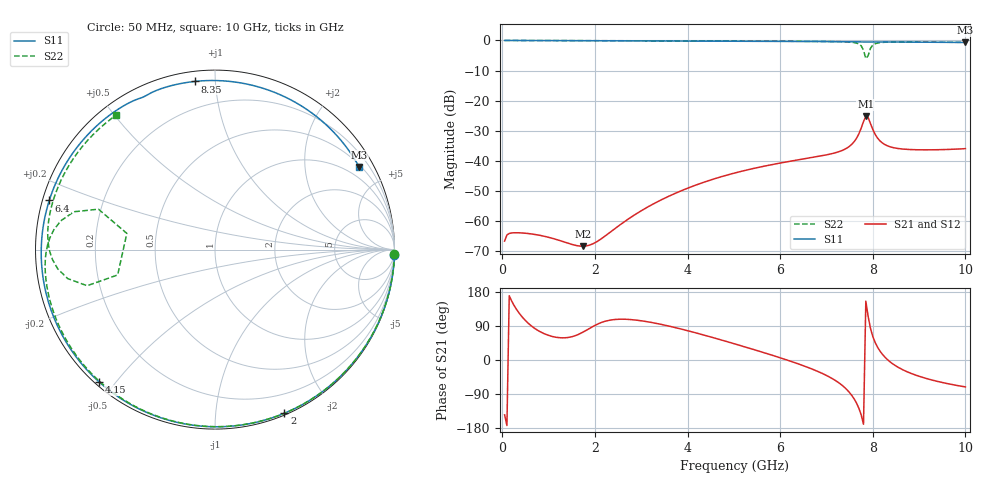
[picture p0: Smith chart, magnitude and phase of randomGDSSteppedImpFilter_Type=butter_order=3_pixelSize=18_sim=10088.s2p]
! freq	dB(S11)	phase(S11)	dB(S12)	phase(S12)
!  dB(S21)	phase(S21)	dB(S22)	phase(S22)
!S-par simulation data
#  GHz  S  DB  R 50
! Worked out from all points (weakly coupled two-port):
!   200 points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, 50 MHz to 10 GHz, reference 50 ohm
!   highest |S21| = -25.27 dB at 7.85 GHz (marker M1); lowest = -68.4 dB at 1.75 GHz (marker M2)
!   lowest |S11| = -0.7 dB at 10 GHz (marker M3), VSWR 25.93, Z = 28.6 + j184 ohm
!   |S11| at or under -10 dB: nowhere
!   |S22| runs from -6.0 to 0.0 dB; largest |S21 - S12| = 0
!   S11 on the Smith chart (normalised r, x): 50 MHz: 0, -66; 2 GHz: 0.02, -1.51; 4.15 GHz: 0.01, -0.45; 6.4 GHz: 0.02, +0.15; 8.35 GHz: 0.05, +0.88; 10 GHz: 0.57, +3.68
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0.05  -0.00 -1.7  -66.72 -144.8  -66.72 -144.8  -0.00 -1.3
0.15  -0.00 -5.2  -64.20 169.7  -64.20 169.7  -0.00 -4.0
0.4  -0.01 -13.9  -64.00 118.0  -64.00 118.0  -0.01 -10.5
1.75  -0.07 -59.0  -68.42 74.0  -68.42 74.0  -0.06 -45.1
2  -0.08 -67.0  -67.29 91.3  -67.29 91.3  -0.06 -51.3
2.7  -0.11 -88.8  -59.61 107.3  -59.61 107.3  -0.09 -68.3
3.4  -0.14 -109.6  -53.26 94.8  -53.26 94.8  -0.11 -84.6
4.15  -0.17 -131.2  -48.26 72.6  -48.26 72.6  -0.14 -101.6
5.05  -0.23 -156.8  -43.96 41.4  -43.96 41.4  -0.18 -121.3
6.4  -0.33 163.5  -39.69 -10.6  -39.69 -10.6  -0.28 -150.8
6.7  -0.35 154.1  -38.90 -24.4  -38.90 -24.4  -0.31 -157.7
7.3  -0.41 134.5  -36.82 -63.2  -36.82 -63.2  -0.42 -172.9
7.6  -0.45 124.1  -33.63 -103.1  -33.63 -103.1  -0.70 175.9
7.7  -0.47 120.5  -31.05 -127.3  -31.05 -127.3  -1.17 169.4
7.8  -0.52 116.9  -26.97 -169.5  -26.97 -169.5  -3.26 160.9
7.85  -0.55 115.3  -25.27 155.1  -25.27 155.1  -6.03 169.6
7.9  -0.53 113.8  -25.64 114.9  -25.64 114.9  -5.03 -165.4
7.95  -0.51 112.1  -27.58 83.7  -27.58 83.7  -2.61 -164.2
8.1  -0.49 106.4  -32.41 34.5  -32.41 34.5  -0.86 -176.3
8.35  -0.50 96.9  -35.24 -2.5  -35.24 -2.5  -0.55 172.9
9.15  -0.58 65.1  -36.38 -48.6  -36.38 -48.6  -0.55 150.1
10  -0.67 29.8  -35.98 -71.0  -35.98 -71.0  -0.63 126.5
